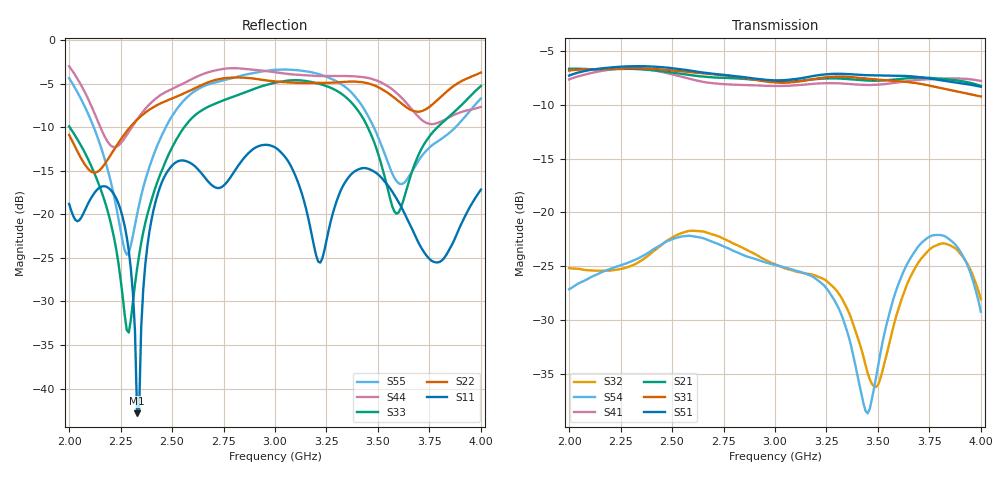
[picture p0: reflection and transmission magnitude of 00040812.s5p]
! Created with skrf 1.8.0 (http://scikit-rf.org).
# Hz S RI R 50.0
!freq ReS11 ImS11 ReS12 ImS12 ReS13 ImS13
! ReS14 ImS14 ReS15 ImS15
! ReS21 ImS21 ReS22 ImS22 ReS23 ImS23
! ReS24 ImS24 ReS25 ImS25
! ReS31 ImS31 ReS32 ImS32 ReS33 ImS33
! ReS34 ImS34 ReS35 ImS35
! ReS41 ImS41 ReS42 ImS42 ReS43 ImS43
! ReS44 ImS44 ReS45 ImS45
! ReS51 ImS51 ReS52 ImS52 ReS53 ImS53
! ReS54 ImS54 ReS55 ImS55
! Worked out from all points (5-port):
!   201 points, 2 GHz to 4 GHz, reference 50 ohm
!   strongest paths, dB at 2 GHz, 2.5 GHz, 3 GHz, 3.5 GHz, 4 GHz:
!     S51: -7.3, -6.6, -7.7, -7.3, -8.3
!     S31: -6.8, -6.8, -7.9, -7.7, -9.2
!     S21: -6.7, -7.0, -7.8, -7.8, -8.2
!     S41: -7.6, -7.2, -8.3, -8.1, -7.8
!     S54: -27.1, -22.5, -24.9, -34.3, -29.2
!     S32: -25.2, -22.3, -24.8, -36.0, -28.1
!   lowest |S11| = -42.8 dB at 2.33 GHz (marker M1), VSWR 1.01, Z = 49.6 - j0.571 ohm
!   |S11| at or under -10 dB: start of sweep to end of sweep
